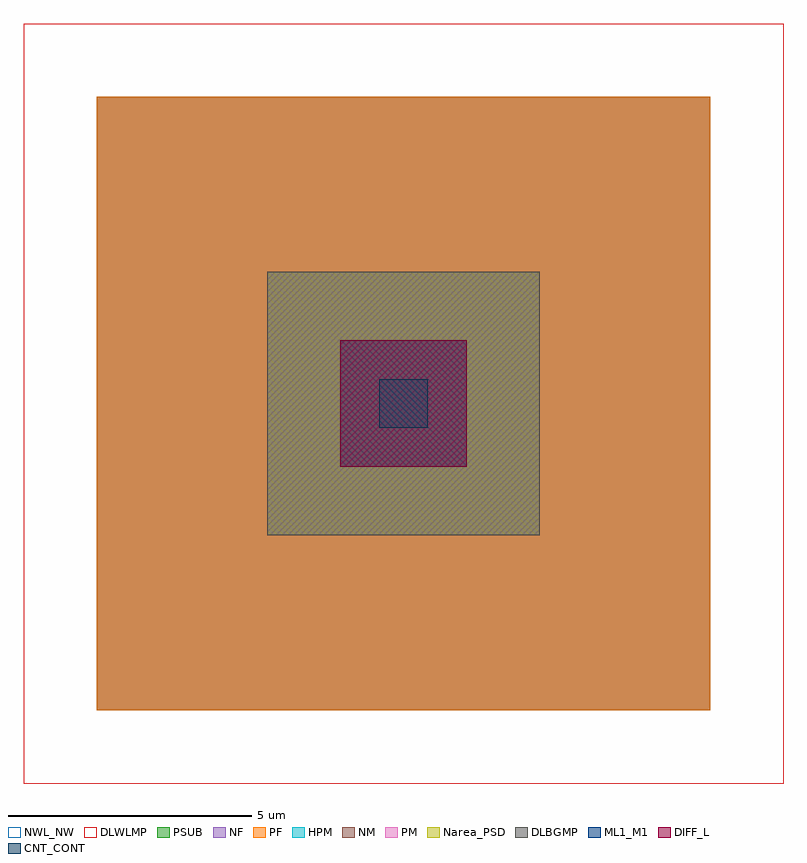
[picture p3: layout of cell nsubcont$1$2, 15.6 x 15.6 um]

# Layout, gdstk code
import gdstk
lib = gdstk.Library(unit=1e-6, precision=1e-07)
def R(c, l, rs):  # rectangles x0, y0, x1, y1
    for r in rs: c.add(gdstk.rectangle(r[:2], r[2:], *l))
DIFF_L = (3, 0)
NM = (7, 0)
Narea_PSD = (9, 0)
CNT_CONT = (11, 0)
ML1_M1 = (13, 0)
NF = (25, 0)
PF = (26, 0)
HPM = (33, 0)
PM = (35, 0)
NWL_NW = (36, 0)
PSUB = (140, 0)
DLWLMP = (150, 0)
DLBGMP = (177, 0)

dcont_1_2 = lib.new_cell('DCONT$1$2')
R(dcont_1_2, DIFF_L, [(-1.3,-1.3,1.3,1.3)])
R(dcont_1_2, CNT_CONT, [(-0.5,-0.5,0.5,0.5)])
R(dcont_1_2, ML1_M1, [(-1.3,-1.3,1.3,1.3), (-0.5,-0.5,0.5,0.5)])

nsubcont_1_2 = lib.new_cell('nsubcont$1$2')
R(nsubcont_1_2, NM, [(-2.8,-2.7,2.8,2.7)])
R(nsubcont_1_2, Narea_PSD, [(-2.8,-2.7,2.8,2.7)])
R(nsubcont_1_2, NF, [(-6.3,-6.3,6.3,6.3)])
R(nsubcont_1_2, PF, [(-6.3,-6.3,6.3,6.3)])
R(nsubcont_1_2, HPM, [(-2.8,-2.7,2.8,2.7)])
R(nsubcont_1_2, PM, [(-2.8,-2.7,2.8,2.7)])
R(nsubcont_1_2, NWL_NW, [(-7.8,-7.8,7.8,7.8)])
R(nsubcont_1_2, PSUB, [(-6.3,-6.3,6.3,6.3)])
R(nsubcont_1_2, DLWLMP, [(-7.8,-7.8,7.8,7.8)])
R(nsubcont_1_2, DLBGMP, [(-2.8,-2.7,2.8,2.7)])
nsubcont_1_2.add(gdstk.Reference(dcont_1_2, (0,0)))

lib.write_gds('nsubcont_1_2.gds')
